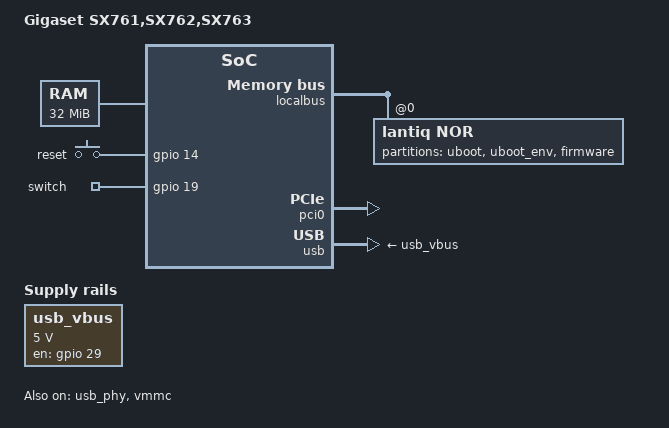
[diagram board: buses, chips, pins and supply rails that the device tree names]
/dts-v1/;

#include "danube.dtsi"

#include <dt-bindings/input/input.h>

/ {
	compatible = "siemens,gigaset-sx76x", "lantiq,xway", "lantiq,danube";
	model = "Gigaset SX761,SX762,SX763";

	chosen {
		bootargs = "console=ttyLTQ0,115200";
	};

	memory@0 {
		reg = <0x0 0x2000000>;
	};

	gpio-keys-polled {
		compatible = "gpio-keys-polled";
		#address-cells = <1>;
		#size-cells = <0>;
		poll-interval = <100>;

		reset {
			label = "reset";
			gpios = <&gpio 14 GPIO_ACTIVE_HIGH>;
			linux,code = <KEY_RESTART>;
		};
	};

	gpio_export {
		compatible = "gpio-export";
		#size-cells = <0>;

		switch {
			gpio-export,name = "switch";
			gpio-export,output = <1>;
			gpios = <&gpio 19 GPIO_ACTIVE_HIGH>;
		};
	};

	usb_vbus: regulator-usb-vbus {
		compatible = "regulator-fixed";

		regulator-name = "USB_VBUS";

		regulator-min-microvolt = <5000000>;
		regulator-max-microvolt = <5000000>;

		gpio = <&gpio 29 GPIO_ACTIVE_HIGH>;
		enable-active-high;
	};
};

&gpio {
	pinctrl-names = "default";
	pinctrl-0 = <&state_default>;

	state_default: pinmux {
		stp {
			lantiq,groups = "stp";
			lantiq,function = "stp";
		};
	};
};


&gpiomm {
	status = "okay";
	lantiq,shadow = <0x3>;
};

&gpios {
	status = "okay";
};

&gsw {
	phy-mode = "rmii";
};

&localbus {
	nor@0 {
		compatible = "lantiq,nor";
		bank-width = <2>;
		reg = <0 0x0 0x2000000>;
		#address-cells = <1>;
		#size-cells = <1>;

		partitions {
			compatible = "fixed-partitions";
			#address-cells = <1>;
			#size-cells = <1>;

			partition@0 {
				label = "uboot";
				reg = <0x0 0x30000>;
			};

			partition@10000 {
				label = "uboot_env";
				reg = <0x30000 0x10000>;
			};

			partition@40000 {
				label = "firmware";
				reg = <0x40000 0x7c0000>;
			};
		};
	};
};

&pci0 {
	status = "okay";
	gpio-reset = <&gpio 21 GPIO_ACTIVE_HIGH>;
};

&usb_phy {
	status = "okay";
};

&usb {
	status = "okay";
	vbus-supply = <&usb_vbus>;
};

&vmmc {
	status = "okay";
	gpios = <&gpiomm 1 GPIO_ACTIVE_HIGH>;
};
